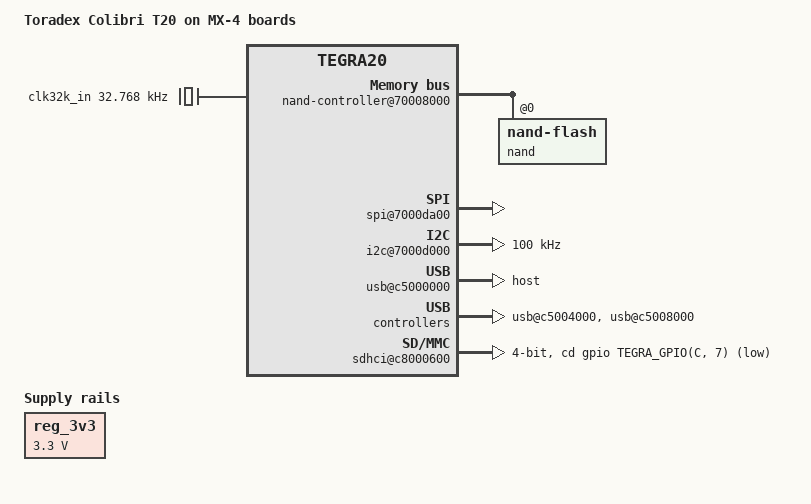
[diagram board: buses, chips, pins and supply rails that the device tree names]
/dts-v1/;

#include "tegra20.dtsi"

/ {
	model = "Toradex Colibri T20 on MX-4 boards";
	compatible = "hostmobility,mx4, toradex,colibri_t20", "nvidia,tegra20";

	chosen {
		stdout-path = &uarta;
	};

	aliases {
		i2c0 = "/i2c@7000d000";
		i2c1 = "/i2c@7000c000";
		i2c2 = "/i2c@7000c400";
		mmc0 = "/sdhci@c8000600";
		spi0 = "/spi@7000da00";
		usb0 = "/usb@c5000000";
		usb1 = "/usb@c5004000"; /* On-module only, for ASIX */
		usb2 = "/usb@c5008000";
	};

	nand-controller@70008000 {
		nvidia,wp-gpios = <&gpio TEGRA_GPIO(S, 0) GPIO_ACTIVE_HIGH>;
		nvidia,width = <8>;
		nvidia,timing = <15 100 25 80 25 10 15 10 100>;

		nand@0 {
			reg = <0>;
			compatible = "nand-flash";
		};
	};

	/* SPI1: Colibri SSP */
	spi@7000da00 {
		status = "okay";
		spi-max-frequency = <25000000>;
	};

	/* GEN2_I2C: unused */

	/*
	 * PWR_I2C: power I2C to PMIC and temperature sensor
	 */
	i2c@7000d000 {
		status = "okay";
		clock-frequency = <100000>;
	};

	/* EHCI instance 0: USB1_DP/N -> USBC_P/N */
	usb@c5000000 {
		status = "okay";
		dr_mode = "host";
	};

	/* EHCI instance 1: ULPI -> USB3340 -> AX88772B */
	usb@c5004000 {
		status = "okay";
		/* ULPI_RESET */
		nvidia,phy-reset-gpio =
				<&gpio TEGRA_GPIO(V, 1) GPIO_ACTIVE_LOW>;
		/* VBUS_LAN */
		nvidia,vbus-gpio = <&gpio TEGRA_GPIO(BB, 1) GPIO_ACTIVE_HIGH>;
	};

	/* EHCI instance 2: USB3_DP/N -> USBH_P/N */
	usb@c5008000 {
		status = "okay";
		/* USBH_PEN */
		nvidia,vbus-gpio = <&gpio TEGRA_GPIO(W, 2) GPIO_ACTIVE_LOW>;
	};

	sdhci@c8000600 {
		status = "okay";
		bus-width = <4>;
		cd-gpios = <&gpio TEGRA_GPIO(C, 7) GPIO_ACTIVE_LOW>;
	};

	clocks {
		compatible = "simple-bus";
		#address-cells = <1>;
		#size-cells = <0>;

		clk32k_in: clock@0 {
			compatible = "fixed-clock";
			reg=<0>;
			#clock-cells = <0>;
			clock-frequency = <32768>;
		};
	};

	regulators {
		compatible = "simple-bus";
		#address-cells = <1>;
		#size-cells = <0>;

		reg_3v3: regulator@0 {
			compatible = "regulator-fixed";
			reg = <0>;
			regulator-name = "+V3.3";
			regulator-min-microvolt = <3300000>;
			regulator-max-microvolt = <3300000>;
			regulator-always-on;
		};
	};
};
